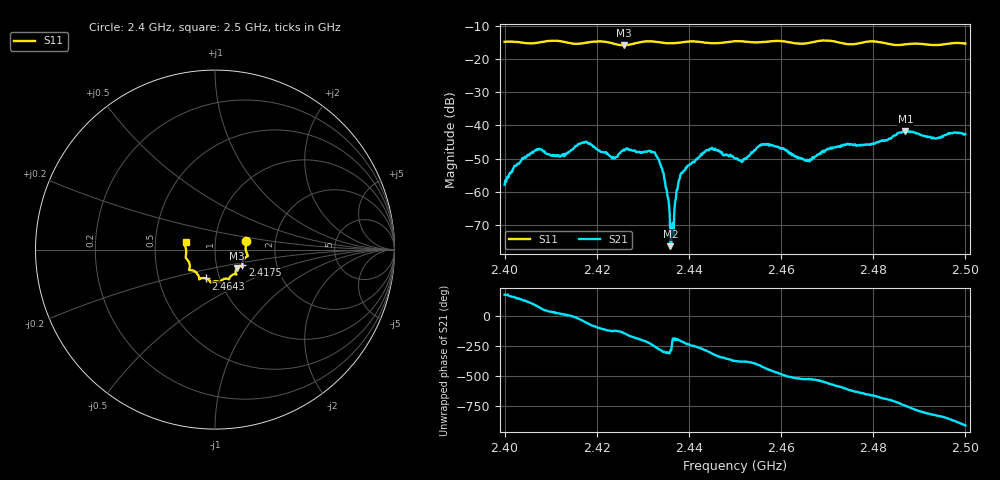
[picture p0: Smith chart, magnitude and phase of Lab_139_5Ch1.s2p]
# Hz S RI R 50
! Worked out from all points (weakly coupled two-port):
!   601 points, 2.4 GHz to 2.5 GHz, reference 50 ohm
!   highest |S21| = -41.79 dB at 2.487 GHz (marker M1); lowest = -76.3 dB at 2.436 GHz (marker M2)
!   lowest |S11| = -15.9 dB at 2.4258 GHz (marker M3), VSWR 1.38, Z = 62.3 - j13.2 ohm
!   |S11| at or under -10 dB: start of sweep to end of sweep
!   S12 and S22 are empty: the file has one direction only
!   S11 on the Smith chart (normalised r, x): 2.4 GHz: 1.41, +0.14; 2.4175 GHz: 1.34, -0.23; 2.4643 GHz: 0.86, -0.29; 2.5 GHz: 0.72, +0.06
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2.4e9  0.1732 0.0495  -0.00128 0.000126  0 0  0 0
2.406833e9  0.1727 -0.00795  0.000528 0.00427  0 0  0 0
2.412333e9  0.1789 -0.0376  0.00344 0.000905  0 0  0 0
2.416667e9  0.1527 -0.074  0.00448 -0.00313  0 0  0 0
2.4175e9  0.1518 -0.0836  0.00339 -0.00441  0 0  0 0
2.4235e9  0.1417 -0.0935  -0.00194 -0.00273  0 0  0 0
2.425833e9  0.122 -0.1031  -0.00347 -0.00257  0 0  0 0
2.431833e9  0.119 -0.1392  -0.00224 0.00342  0 0  0 0
2.433333e9  0.1134 -0.1372  0.000331 0.00313  0 0  0 0
2.435e9  0.1023 -0.1382  0.000671 0.000932  0 0  0 0
2.436e9  0.0943 -0.1425  3.9e-05 0.000148  0 0  0 0
2.4365e9  0.0906 -0.1454  -0.00034 4.28e-05  0 0  0 0
2.437833e9  0.083 -0.1534  -0.00139 0.000551  0 0  0 0
2.439833e9  0.0795 -0.163  -0.00144 0.00204  0 0  0 0
2.444667e9  0.0587 -0.1612  0.00257 0.00361  0 0  0 0
2.45e9  0.0287 -0.1815  0.00311 -0.000731  0 0  0 0
2.456667e9  -0.0116 -0.1793  0.00131 -0.00508  0 0  0 0
2.464333e9  -0.05 -0.1608  -0.00308 -0.001  0 0  0 0
2.466667e9  -0.0764 -0.1592  -0.00292 -0.000862  0 0  0 0
2.483333e9  -0.1406 -0.0898  0.00562 0.0027  0 0  0 0
2.487e9  -0.1554 -0.0555  0.00737 -0.00344  0 0  0 0
2.5e9  -0.1635 0.0427  -0.00729 0.000924  0 0  0 0
